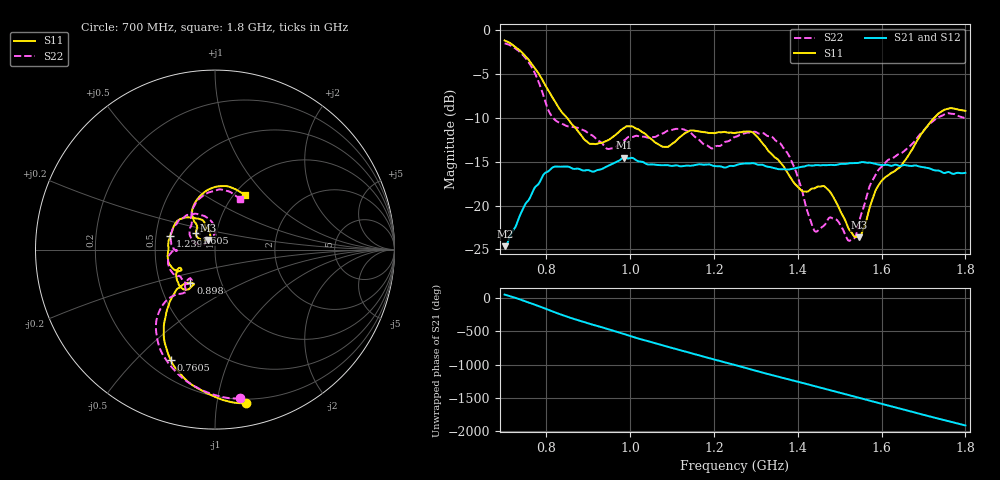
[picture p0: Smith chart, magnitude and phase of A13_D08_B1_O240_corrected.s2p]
! Created with skrf 1.9.0 (http://scikit-rf.org).
# Hz S RI R 50.0
!freq ReS11 ImS11 ReS21 ImS21 ReS12 ImS12 ReS22 ImS22
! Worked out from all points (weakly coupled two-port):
!   1601 points, 700 MHz to 1.8 GHz, reference 50 ohm
!   highest |S21| = -14.52 dB at 986 MHz (marker M1); lowest = -24.6 dB at 700.7 MHz (marker M2)
!   lowest |S11| = -23.6 dB at 1.546 GHz (marker M3), VSWR 1.14, Z = 46.1 + j5.02 ohm
!   |S11| at or under -10 dB: 849.4 MHz to 1.725 GHz (875.6 MHz wide, 68 % of centre)
!   |S22| runs from -24.0 to -1.5 dB; largest |S21 - S12| = 0.0037
!   S11 on the Smith chart (normalised r, x): 700 MHz: 0.17, -1.21; 760.5 MHz: 0.29, -0.64; 898 MHz: 0.71, -0.28; 1.239 GHz: 0.59, +0.10; 1.605 GHz: 0.79, +0.15; 1.8 GHz: 1.12, +0.77
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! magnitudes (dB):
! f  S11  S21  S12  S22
! 700 MHz  -1.2  -24.6  -24.4  -1.5
! 700.7 MHz  -1.2  -24.6  -24.3  -1.5
! 760.5 MHz  -3.6  -19.1  -19.0  -3.9
! 814.8 MHz  -7.7  -15.6  -15.7  -9.9
! 883.6 MHz  -12.0  -15.9  -15.8  -11.3
! 898 MHz  -12.8  -15.9  -16.0  -11.7
! 946.8 MHz  -12.6  -15.5  -15.5  -13.5
! 986 MHz  -11.1  -14.5  -14.6  -12.6
! 1.067 GHz  -13.0  -15.4  -15.3  -12.0
! 1.239 GHz  -11.7  -15.5  -15.6  -12.5
! 1.25 GHz  -11.7  -15.4  -15.4  -12.2
! 1.293 GHz  -11.7  -15.2  -15.2  -11.6
! 1.359 GHz  -15.1  -15.9  -15.8  -12.9
! 1.393 GHz  -17.5  -15.7  -15.7  -15.8
! 1.434 GHz  -18.1  -15.4  -15.4  -22.2
! 1.473 GHz  -18.3  -15.4  -15.4  -21.5
! 1.524 GHz  -22.8  -15.2  -15.2  -24.0
! 1.546 GHz  -23.6  -15.1  -15.1  -21.9
! 1.605 GHz  -16.9  -15.4  -15.4  -15.3
! 1.617 GHz  -16.5  -15.4  -15.4  -14.8
! 1.735 GHz  -9.5  -16.0  -16.1  -9.9
! 1.8 GHz  -9.2  -16.3  -16.3  -10.0
